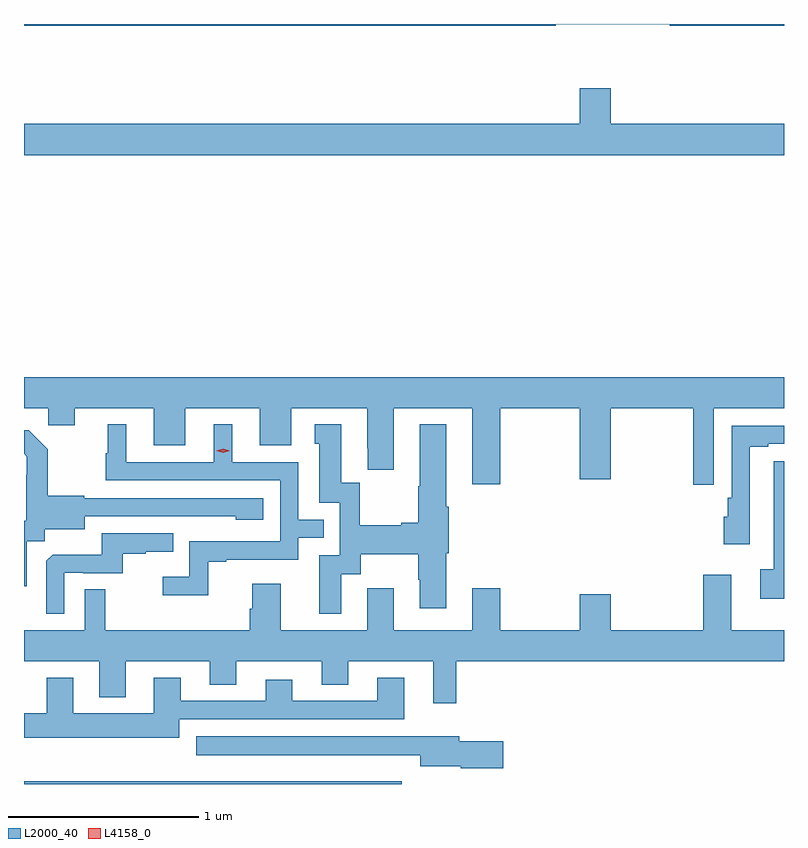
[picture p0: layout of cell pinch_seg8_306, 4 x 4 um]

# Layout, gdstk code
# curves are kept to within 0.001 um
import gdstk
lib = gdstk.Library(unit=1e-6, precision=1e-09)
def R(c, l, rs):  # rectangles x0, y0, x1, y1
    for r in rs: c.add(gdstk.rectangle(r[:2], r[2:], *l))
def P(c, l, *ps):  # polygons
    for p in ps: c.add(gdstk.Polygon(p, *l))
L2000_40 = (2000, 40)
L4158_0 = (4158, 0)

pinch_seg8_306 = lib.new_cell('pinch_seg8_306')
R(pinch_seg8_306, L2000_40, [(533.711,1125.178,535.699,1125.193)])
P(pinch_seg8_306, L2000_40, [(536.51,1129.176),(537.11,1129.176),(537.11,1129.168),(537.711,1129.168),(537.711,1129.178),(533.711,1129.178),(533.711,1129.168),(536.51,1129.168)],
  [(537.711,1128.652),(536.8,1128.652),(536.8,1128.841),(536.636,1128.841),(536.636,1128.652),(533.711,1128.652),(533.711,1128.488),(537.711,1128.488)],
  [(537.342,1127.156),(537.711,1127.156),(537.711,1127.32),(533.711,1127.32),(533.711,1127.156),(533.839,1127.156),(533.839,1127.066),(533.977,1127.066),(533.977,1127.156),(534.395,1127.156),(534.395,1126.962),(534.559,1126.962),(534.559,1127.156),(534.953,1127.156),(534.953,1126.962),(535.117,1126.962),(535.117,1127.156),(535.517,1127.156),(535.517,1126.945),(535.52,1126.945),(535.52,1126.833),(535.657,1126.833),(535.657,1127.156),(536.069,1127.156),(536.069,1126.755),(536.217,1126.755),(536.217,1127.156),(536.636,1127.156),(536.636,1126.782),(536.8,1126.782),(536.8,1127.156),(537.234,1127.156),(537.234,1126.752),(537.342,1126.752)],
  [(534.681,1126.347),(534.775,1126.347),(534.775,1126.359),(535.155,1126.359),(535.155,1126.473),(535.289,1126.473),(535.289,1126.569),(535.155,1126.569),(535.155,1126.872),(534.808,1126.872),(534.808,1127.071),(534.71,1127.071),(534.71,1126.872),(534.25,1126.872),(534.25,1127.071),(534.152,1127.071),(534.152,1126.92),(534.141,1126.92),(534.141,1126.776),(535.059,1126.776),(535.059,1126.455),(534.582,1126.455),(534.582,1126.27),(534.441,1126.27),(534.441,1126.172),(534.681,1126.172)],
  [(535.381,1126.282),(535.483,1126.282),(535.483,1126.388),(535.786,1126.388),(535.786,1126.254),(535.793,1126.254),(535.793,1126.104),(535.933,1126.104),(535.933,1126.392),(535.946,1126.392),(535.946,1126.636),(535.933,1126.636),(535.933,1127.071),(535.793,1127.071),(535.793,1126.745),(535.786,1126.745),(535.786,1126.553),(535.697,1126.553),(535.697,1126.54),(535.479,1126.54),(535.479,1126.763),(535.381,1126.763),(535.381,1127.071),(535.241,1127.071),(535.241,1126.968),(535.265,1126.968),(535.265,1126.659),(535.374,1126.659),(535.374,1126.383),(535.265,1126.383),(535.265,1126.074),(535.381,1126.074)],
  [(537.531,1126.953),(537.628,1126.953),(537.628,1126.968),(537.711,1126.968),(537.711,1127.064),(537.435,1127.064),(537.435,1126.684),(537.415,1126.684),(537.415,1126.584),(537.395,1126.584),(537.395,1126.44),(537.531,1126.44)],
  [(533.725,1126.456),(533.82,1126.456),(533.82,1126.52),(534.031,1126.52),(534.031,1126.587),(534.825,1126.586),(534.825,1126.568),(534.97,1126.568),(534.97,1126.683),(534.027,1126.683),(534.027,1126.696),(533.835,1126.696),(533.835,1126.941),(533.735,1127.041),(533.711,1127.041),(533.711,1126.915),(533.726,1126.9),(533.726,1126.805),(533.724,1126.805),(533.724,1126.564),(533.711,1126.564),(533.711,1126.218),(533.725,1126.218)],
  [(537.711,1126.877),(537.657,1126.877),(537.657,1126.775),(537.656,1126.775),(537.656,1126.307),(537.585,1126.307),(537.585,1126.154),(537.711,1126.154)],
  [(533.922,1126.29),(534.022,1126.29),(534.022,1126.287),(534.23,1126.287),(534.23,1126.389),(534.353,1126.389),(534.353,1126.4),(534.497,1126.4),(534.497,1126.497),(534.12,1126.497),(534.12,1126.385),(533.861,1126.385),(533.829,1126.353),(533.829,1126.073),(533.922,1126.073)],
  [(535.987,1125.824),(537.711,1125.824),(537.711,1125.988),(537.433,1125.988),(537.433,1126.279),(537.286,1126.279),(537.286,1125.988),(536.8,1125.988),(536.8,1126.177),(536.636,1126.177),(536.636,1125.988),(536.217,1125.988),(536.217,1126.207),(536.069,1126.207),(536.069,1125.988),(535.657,1125.988),(535.657,1126.207),(535.517,1126.207),(535.517,1125.988),(535.063,1125.988),(535.063,1126.231),(534.911,1126.231),(534.911,1126.101),(534.899,1126.101),(534.899,1125.988),(534.139,1125.988),(534.139,1126.202),(534.03,1126.202),(534.03,1125.988),(533.711,1125.988),(533.711,1125.824),(534.107,1125.824),(534.107,1125.635),(534.247,1125.635),(534.247,1125.824),(534.689,1125.824),(534.689,1125.7),(534.829,1125.7),(534.829,1125.824),(535.277,1125.824),(535.277,1125.7),(535.417,1125.7),(535.417,1125.824),(535.865,1125.824),(535.865,1125.603),(535.987,1125.603)],
  [(534.529,1125.519),(535.711,1125.519),(535.711,1125.736),(535.571,1125.736),(535.571,1125.615),(535.123,1125.615),(535.123,1125.727),(534.983,1125.727),(534.983,1125.615),(534.535,1125.615),(534.535,1125.736),(534.395,1125.736),(534.395,1125.55),(533.971,1125.55),(533.971,1125.736),(533.831,1125.736),(533.831,1125.55),(533.711,1125.55),(533.711,1125.422),(534.529,1125.422)],
  [(536.233,1125.402),(536.002,1125.402),(536.002,1125.43),(534.618,1125.43),(534.618,1125.329),(535.796,1125.329),(535.796,1125.272),(536.01,1125.272),(536.01,1125.26),(536.233,1125.26)])
P(pinch_seg8_306, L4158_0, [(534.759,1126.922),(534.723,1126.932),(534.723,1126.932),(534.723,1126.933),(534.759,1126.942),(534.795,1126.933),(534.795,1126.932),(534.795,1126.932)])

lib.write_gds('pinch_seg8_306.gds')
